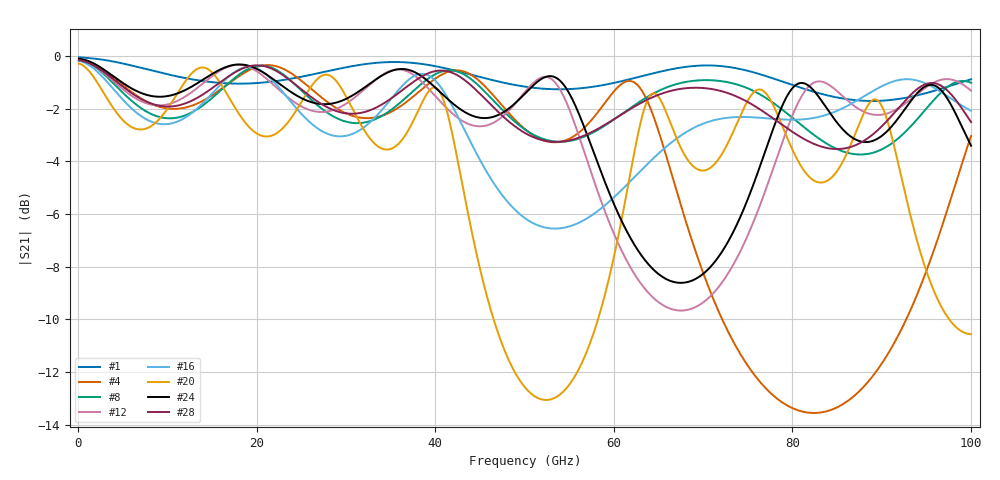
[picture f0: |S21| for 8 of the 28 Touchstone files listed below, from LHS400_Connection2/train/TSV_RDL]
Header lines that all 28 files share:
! Touchstone file exported from HFSS 2026.1.0
!  Design:  TSV_RDL
! Variables:
! Terminal data exported
# GHz S MA R 50.000000
Fixed: h_ox = 20um, h_rdl = 5um, h_via = 3um, m_sub = 200um, s_tmrdl = 10um, w_sub = 500um
Also varied, not listed: x_tsv_center2, x_tsv_center3, x_tsv_center4, x_tsv_center5, x_tsv_center6
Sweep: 100 MHz to 100 GHz
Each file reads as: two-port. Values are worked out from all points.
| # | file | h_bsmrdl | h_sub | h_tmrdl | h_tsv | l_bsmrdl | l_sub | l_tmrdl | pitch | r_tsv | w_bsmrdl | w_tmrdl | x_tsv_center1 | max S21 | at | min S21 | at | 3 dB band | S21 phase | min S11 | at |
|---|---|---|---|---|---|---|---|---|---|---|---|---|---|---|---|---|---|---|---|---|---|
| 1 | dut0.s2p | 4.39um | 90.4um | 3.04um | 90.4um | 118.58um | 1311.94um | 113.94um | 59.24um | 13.35um | 12.1um | 21.38um | 124.63um | -0.06 dB | 100 MHz | -1.7 dB | 88.9 GHz | 100 MHz-100 GHz | 123 deg at 50.1 GHz | -42.0 dB | 100 MHz |
| 2 | dut2.s2p | 3.28um | 78.01um | 4.25um | 78.01um | 415.08um | 2650.82um | 216.61um | 55.82um | 11.51um | 25.39um | 20.99um | 227.105um | -0.09 dB | 100 MHz | -2.9 dB | 94.1 GHz | 100 MHz-100 GHz | -48 deg at 50.1 GHz | -37.3 dB | 100 MHz |
| 3 | dut5.s2p | 2.13um | 80.72um | 4.4um | 80.72um | 252.91um | 3594.75um | 585.44um | 48.17um | 13.39um | 17.59um | 13.83um | 592.355um | -0.19 dB | 100 MHz | -11.1 dB | 100 GHz | 100 MHz-46.3 GHz | 127 deg at 50.1 GHz | -32.3 dB | 14.8 GHz |
| 4 | dut7.s2p | 4.43um | 51.93um | 3.8um | 51.93um | 199.29um | 2756.96um | 411.64um | 50.63um | 11.53um | 24.77um | 12.74um | 418.01um | -0.13 dB | 100 MHz | -13.5 dB | 82.4 GHz | 100 MHz-51.5 GHz | -47 deg at 50.1 GHz | -34.6 dB | 100 MHz |
| 5 | dut8.s2p | 4.47um | 78.41um | 3.17um | 78.41um | 190.94um | 1836.81um | 178.52um | 58.84um | 7.75um | 25um | 24.97um | 191.005um | -0.06 dB | 100 MHz | -1.8 dB | 76.7 GHz | 100 MHz-100 GHz | 80 deg at 50.1 GHz | -40.0 dB | 100 MHz |
| 6 | dut9.s2p | 2.52um | 79.77um | 2.38um | 79.77um | 403.51um | 2153.18um | 105.31um | 55.61um | 5.87um | 18.99um | 21.48um | 116.05um | -0.13 dB | 100 MHz | -3.3 dB | 69.7 GHz | 100 MHz-66.8 GHz | 34 deg at 50.1 GHz | -45.1 dB | 97.1 GHz |
| 7 | dut12.s2p | 3.77um | 84.65um | 2.27um | 84.65um | 477.87um | 3095.3um | 276.76um | 59.54um | 13.87um | 23.84um | 27.71um | 290.615um | -0.12 dB | 100 MHz | -4.8 dB | 96.3 GHz | 100 MHz-76.5 GHz | -116 deg at 50.1 GHz | -45.0 dB | 64.8 GHz |
| 8 | dut13.s2p | 3.1um | 59.3um | 3.96um | 59.3um | 394.12um | 3114.31um | 354.12um | 54.2um | 6um | 13.33um | 25.16um | 366.7um | -0.15 dB | 100 MHz | -3.7 dB | 87.6 GHz | 100 MHz-52 GHz | -86 deg at 50.1 GHz | -33.3 dB | 100 MHz |
| 9 | dut14.s2p | 4.36um | 90.95um | 3.06um | 90.95um | 409.82um | 3830.06um | 521.29um | 45.87um | 5.89um | 25.19um | 13.29um | 527.935um | -0.21 dB | 100 MHz | -11.1 dB | 53.6 GHz | 100 MHz-43.5 GHz | 113 deg at 50.1 GHz | -31.4 dB | 14.3 GHz |
| 10 | dut15.s2p | 4.59um | 98.13um | 2.97um | 98.13um | 247.71um | 2800.47um | 383um | 56.82um | 11.61um | 13.27um | 28.51um | 397.255um | -0.11 dB | 100 MHz | -4.7 dB | 100 GHz | 100 MHz-81 GHz | -96 deg at 50.1 GHz | -35.9 dB | 100 MHz |
| 11 | dut16.s2p | 4.8um | 93.38um | 3.74um | 93.38um | 371.79um | 4224.4um | 648.96um | 55.87um | 11.13um | 25.61um | 12.12um | 655.02um | -0.21 dB | 100 MHz | -13.9 dB | 48.7 GHz | 100 MHz-30.3 GHz | 87 deg at 50.1 GHz | -31.0 dB | 12.7 GHz |
| 12 | dut17.s2p | 4.06um | 80.31um | 3.18um | 80.31um | 226.75um | 3115.44um | 475.01um | 54.62um | 8.07um | 27.21um | 17.84um | 483.93um | -0.14 dB | 100 MHz | -9.7 dB | 67.5 GHz | 100 MHz-56.1 GHz | -117 deg at 50.1 GHz | -33.8 dB | 100 MHz |
| 13 | dut19.s2p | 4.23um | 80.01um | 4.52um | 80.01um | 448.03um | 2802.06um | 234.11um | 49.11um | 5.65um | 14.6um | 25.91um | 247.065um | -0.12 dB | 100 MHz | -3.7 dB | 57.9 GHz | 100 MHz-52.7 GHz | -73 deg at 50.1 GHz | -35.2 dB | 100 MHz |
| 14 | dut20.s2p | 3.07um | 70.5um | 2.61um | 70.5um | 153.57um | 3726.66um | 685.1um | 42.44um | 12.28um | 19.2um | 22.65um | 696.425um | -0.18 dB | 100 MHz | -6.9 dB | 57.4 GHz | 100 MHz-49.1 GHz | 140 deg at 50.1 GHz | -35.1 dB | 15.1 GHz |
| 15 | dut23.s2p | 3.24um | 68.05um | 3.5um | 68.05um | 258.91um | 3075.81um | 451.58um | 49.79um | 8.83um | 12.37um | 18.55um | 460.855um | -0.16 dB | 100 MHz | -3.4 dB | 87.2 GHz | 100 MHz-84.8 GHz | -92 deg at 50.1 GHz | -33.1 dB | 100 MHz |
| 16 | dut24.s2p | 3.4um | 79.49um | 2.72um | 79.49um | 625.43um | 3061.76um | 168.94um | 54.71um | 8.6um | 11.27um | 25.3um | 181.59um | -0.20 dB | 100 MHz | -6.6 dB | 53.4 GHz | 100 MHz-43.8 GHz | -112 deg at 50.1 GHz | -31.5 dB | 100 MHz |
| 17 | dut25.s2p | 2.88um | 77.22um | 4.58um | 77.22um | 143.93um | 2580.51um | 415.28um | 52.43um | 11.64um | 10.36um | 18.84um | 424.7um | -0.12 dB | 100 MHz | -5.6 dB | 77.5 GHz | 100 MHz-69.3 GHz | -49 deg at 50.1 GHz | -35.5 dB | 100 MHz |
| 18 | dut26.s2p | 3.64um | 73.65um | 4.72um | 73.65um | 295.86um | 3665.12um | 563.41um | 59.93um | 13.9um | 20.17um | 21.13um | 573.975um | -0.12 dB | 100 MHz | -5.2 dB | 100 GHz | 100 MHz-52 GHz | 160 deg at 50.1 GHz | -34.1 dB | 100 MHz |
| 19 | dut27.s2p | 2.95um | 95.63um | 2.86um | 95.63um | 136.38um | 2236.06um | 340.77um | 57.38um | 11.39um | 11.18um | 10.1um | 345.82um | -0.20 dB | 100 MHz | -14.1 dB | 80.9 GHz | 100 MHz-50.1 GHz | -46 deg at 50.1 GHz | -32.0 dB | 100 MHz |
| 20 | dut28.s2p | 3.34um | 62.43um | 2.62um | 62.43um | 558.38um | 4196.93um | 501.94um | 59.81um | 5.81um | 27.43um | 10.58um | 507.23um | -0.30 dB | 100 MHz | -13.1 dB | 52.4 GHz | 100 MHz-33.1 GHz | 106 deg at 50.1 GHz | -29.3 dB | 14 GHz |
| 21 | dut29.s2p | 2.27um | 62.12um | 4.66um | 62.12um | 298.59um | 3765.41um | 581.98um | 43.16um | 7.23um | 20.23um | 27.01um | 595.485um | -0.14 dB | 100 MHz | -2.7 dB | 91.5 GHz | 100 MHz-100 GHz | -173 deg at 50.1 GHz | -34.6 dB | 100 MHz |
| 22 | dut30.s2p | 3.91um | 86.72um | 4.34um | 86.72um | 501.91um | 4636.57um | 653.88um | 46.86um | 5.42um | 14.73um | 23.71um | 665.735um | -0.19 dB | 100 MHz | -7.6 dB | 86.8 GHz | 100 MHz-69 GHz | 22 deg at 50.1 GHz | -31.2 dB | 100 MHz |
| 23 | dut31.s2p | 4.2um | 81.34um | 2.13um | 81.34um | 635.72um | 3065.43um | 164.51um | 57.05um | 14.09um | 13.19um | 20.22um | 174.62um | -0.16 dB | 100 MHz | -5.6 dB | 50.8 GHz | 100 MHz-42.5 GHz | -124 deg at 50.1 GHz | -32.7 dB | 100 MHz |
| 24 | dut32.s2p | 4.76um | 77.93um | 4.19um | 77.93um | 316.32um | 2987.73um | 379.46um | 53.72um | 12.51um | 24.92um | 15.39um | 387.155um | -0.11 dB | 100 MHz | -8.6 dB | 67.5 GHz | 100 MHz-57.1 GHz | -104 deg at 50.1 GHz | -35.5 dB | 100 MHz |
| 25 | dut34.s2p | 2.39um | 63.22um | 4.59um | 63.22um | 110.55um | 1889.11um | 267.9um | 49.33um | 6.41um | 15.81um | 12.81um | 274.305um | -0.10 dB | 100 MHz | -3.8 dB | 100 GHz | 100 MHz-98.6 GHz | 87 deg at 50.1 GHz | -36.9 dB | 100 MHz |
| 26 | dut35.s2p | 4.86um | 71.47um | 2.04um | 71.47um | 487.6um | 2833.62um | 212.96um | 51.04um | 9.53um | 19.63um | 20.03um | 222.975um | -0.13 dB | 100 MHz | -2.9 dB | 90.8 GHz | 100 MHz-100 GHz | -65 deg at 50.1 GHz | -35.0 dB | 100 MHz |
| 27 | dut38.s2p | 3.96um | 56.97um | 3.23um | 56.97um | 546.89um | 3646.28um | 370.06um | 57.22um | 5.71um | 16.38um | 25.41um | 382.765um | -0.15 dB | 100 MHz | -3.2 dB | 95.3 GHz | 100 MHz-94.1 GHz | -139 deg at 50.1 GHz | -36.6 dB | 64.7 GHz |
| 28 | dut39.s2p | 2.19um | 82.34um | 4.79um | 82.34um | 430.98um | 2866.13um | 266.26um | 50.28um | 8.93um | 14.79um | 21.26um | 276.89um | -0.17 dB | 100 MHz | -3.5 dB | 85 GHz | 100 MHz-51.6 GHz | -88 deg at 50.1 GHz | -33.0 dB | 100 MHz |
